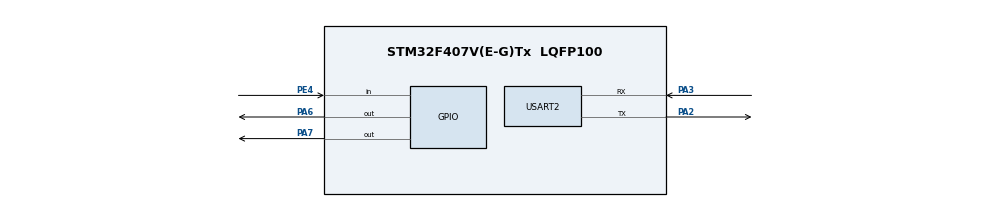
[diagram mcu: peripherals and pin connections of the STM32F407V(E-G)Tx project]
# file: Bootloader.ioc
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Mcu.Family=STM32F4
Mcu.Name=STM32F407V(E-G)Tx
Mcu.Package=LQFP100
NVIC.PriorityGroup=NVIC_PRIORITYGROUP_4
PA2.Mode=Asynchronous
PA2.Signal=USART2_TX
PA3.Mode=Asynchronous
PA3.Signal=USART2_RX
PA6.Signal=GPIO_Output
PA7.Signal=GPIO_Output
PE4.Signal=GPIO_Input
PH0-OSC_IN.Mode=HSE-External-Oscillator
PH0-OSC_IN.Signal=RCC_OSC_IN
PH1-OSC_OUT.Mode=HSE-External-Oscillator
PH1-OSC_OUT.Signal=RCC_OSC_OUT
ProjectManager.HeapSize=0x200
ProjectManager.StackSize=0x400
ProjectManager.TargetToolchain=CMake
RCC.48MHZClocksFreq_Value=84000000
RCC.AHBFreq_Value=168000000
RCC.APB1CLKDivider=RCC_HCLK_DIV4
RCC.APB1Freq_Value=42000000
RCC.APB1TimFreq_Value=84000000
RCC.APB2CLKDivider=RCC_HCLK_DIV2
RCC.APB2Freq_Value=84000000
RCC.APB2TimFreq_Value=168000000
RCC.CortexFreq_Value=168000000
RCC.HCLKFreq_Value=168000000
RCC.HSE_VALUE=8000000
RCC.HSI_VALUE=16000000
RCC.LSE_VALUE=32768
RCC.PLLM=8
RCC.PLLN=336
RCC.PLLSourceVirtual=RCC_PLLSOURCE_HSE
RCC.SYSCLKFreq_VALUE=168000000
RCC.SYSCLKSource=RCC_SYSCLKSOURCE_PLLCLK
RCC.VCOOutputFreq_Value=336000000
USART2.VirtualMode=VM_ASYNC
board=custom

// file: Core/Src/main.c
/* USER CODE BEGIN Header */
/**
 ******************************************************************************
 * @file           : main.c
 * @brief          : Main program body
 ******************************************************************************
 * @attention
 *
 * Copyright (c) 2025 STMicroelectronics.
 * All rights reserved.
 *
 * This software is licensed under terms that can be found in the LICENSE file
 * in the root directory of this software component.
 * If no LICENSE file comes with this software, it is provided AS-IS.
 *
 ******************************************************************************
 */
/* USER CODE END Header */
/* Includes
 * ------------------------------------------------------------------*/
#include "main.h"
#include "stm32f407xx.h"

/* Private includes
 * ----------------------------------------------------------*/
/* USER CODE BEGIN Includes */
#include "sha-256.h"
#include "stm32f4xx_hal.h"
#include "stm32f4xx_hal_gpio.h"
#include "uECC.h"
#include <stdint.h>
#include <string.h>

/* USER CODE END Includes */

/* Private typedef
 * -----------------------------------------------------------*/

/* Private define
 * ------------------------------------------------------------*/
/* USER CODE BEGIN PD */
#define APP_ADDRESS 0x08010000U
#define APP_SIZE 0x70000U
#define HASH_SIZE 32U
#define SIGNATURE_SIZE 64U
#define RESERVED_SIZE (HASH_SIZE + SIGNATURE_SIZE)
#define APP_HASH_END (APP_ADDRESS + APP_SIZE - RESERVED_SIZE)

/* USER CODE END PD */

/* Private macro
 * -------------------------------------------------------------*/
/* USER CODE BEGIN PM */
// extern const uint8_t ecdsa_pub_x[32];
// extern const uint8_t ecdsa_pub_y[32];

/* USER CODE END PM */

/* Private variables
 * ---------------------------------------------------------*/
UART_HandleTypeDef huart2;

/* Private function prototypes
 * -----------------------------------------------*/
void SystemClock_Config (void);
static void MX_GPIO_Init (void);
static void MX_USART2_UART_Init (void);
/* USER CODE BEGIN PFP */

void jump_to_application (uint32_t application_address);

/* USER CODE END PFP */

/* Private user code
 * ---------------------------------------------------------*/

int
main (void)
{

    /* MCU
     * Configuration--------------------------------------------------------*/

    /* Reset of all peripherals, Initializes the Flash interface and the
     * Systick. */
    HAL_Init ();

    /* Configure the system clock */
    SystemClock_Config ();

    /* Initialize all configured peripherals */
    MX_GPIO_Init ();
    MX_USART2_UART_Init ();
    /* USER CODE BEGIN 2 */
    HAL_UART_Transmit (&huart2, (uint8_t *)"Bootloader mode\r\n", 17,
                       HAL_MAX_DELAY);

    // Allocate buffers
    uint8_t computed_hash[HASH_SIZE];
    uint8_t stored_hash[HASH_SIZE];
    uint8_t stored_signature[SIGNATURE_SIZE];
    uint8_t pubkey[64];

    const uint8_t ecdsa_pub_x[32]
        = { 0x47, 0x97, 0x03, 0x07, 0xc6, 0x05, 0xfe, 0xcf, 0x44, 0x20, 0x2a,
            0x54, 0xa1, 0xe1, 0xd5, 0x9f, 0xa7, 0x8d, 0xe7, 0x4f, 0x5a, 0xd7,
            0x8d, 0xee, 0xd8, 0xcf, 0x0d, 0xde, 0x06, 0x51, 0x8d, 0x78 };

    const uint8_t ecdsa_pub_y[32]
        = { 0xaf, 0x83, 0x37, 0x95, 0xb2, 0xdd, 0xb7, 0xf6, 0x3a, 0x60, 0xf8,
            0xe0, 0xb5, 0xfc, 0x96, 0x8b, 0xd6, 0x80, 0x2e, 0x55, 0x41, 0x60,
            0x2f, 0x49, 0x14, 0xbf, 0xcf, 0xb9, 0xa1, 0x70, 0x94, 0xe7 };

    // Prepare public key (x || y)
    memcpy (pubkey, ecdsa_pub_x, 32);
    memcpy (pubkey + 32, ecdsa_pub_y, 32);

    // Compute SHA-256 hash of app code region
    struct Sha_256 ctx;
    sha_256_init (&ctx, computed_hash);
    sha_256_write (&ctx, (const uint8_t *)APP_ADDRESS,
                   APP_HASH_END - APP_ADDRESS);
    sha_256_close (&ctx);

    // Load stored hash and signature
    memcpy (stored_hash, (const uint8_t *)APP_HASH_END, HASH_SIZE);
    memcpy (stored_signature, (const uint8_t *)(APP_HASH_END + HASH_SIZE),
            SIGNATURE_SIZE);

    for (int i = 0; i < SIGNATURE_SIZE; i++)
    {
        char msg[10];
        sprintf (msg, "%02X ", stored_signature[i]);
        HAL_UART_Transmit (&huart2, (uint8_t *)msg, strlen (msg),
                           HAL_MAX_DELAY);
    }
    HAL_UART_Transmit (&huart2, (uint8_t *)"\r\n", 2, HAL_MAX_DELAY);

    // Compare hashes (integrity)
    if (memcmp (computed_hash, stored_hash, HASH_SIZE) != 0)
    {
        HAL_UART_Transmit (&huart2, (uint8_t *)"Hash check failed\r\n", 19,
                           HAL_MAX_DELAY);
        goto fail;
    }

    // Verify signature (authenticity)
    int result = uECC_verify (pubkey, computed_hash, HASH_SIZE,
                              stored_signature, uECC_secp256r1 ());

    if (result == 1)
    {
        HAL_UART_Transmit (&huart2, (uint8_t *)"Signature OK. Jumping...\r\n",
                           26, HAL_MAX_DELAY);
        jump_to_application (APP_ADDRESS);
    }
    else
    {
        HAL_UART_Transmit (&huart2, (uint8_t *)"Signature check failed\r\n",
                           24, HAL_MAX_DELAY);
    }
    /* USER CODE END 2 */

    /* Infinite loop */
    /* USER CODE BEGIN WHILE */

fail:
    while (1)
    {
        /* USER CODE END WHILE */
        HAL_GPIO_TogglePin (GPIOA, GPIO_PIN_SET);
        HAL_Delay (500);

    }
}

void
SystemClock_Config (void)
{
    RCC_OscInitTypeDef RCC_OscInitStruct = { 0 };
    RCC_ClkInitTypeDef RCC_ClkInitStruct = { 0 };

    /** Configure the main internal regulator output voltage
     */
    __HAL_RCC_PWR_CLK_ENABLE ();
    __HAL_PWR_VOLTAGESCALING_CONFIG (PWR_REGULATOR_VOLTAGE_SCALE1);

    /** Initializes the RCC Oscillators according to the specified parameters
     * in the RCC_OscInitTypeDef structure.
     */
    RCC_OscInitStruct.OscillatorType = RCC_OSCILLATORTYPE_HSE;
    RCC_OscInitStruct.HSEState = RCC_HSE_ON;
    RCC_OscInitStruct.PLL.PLLState = RCC_PLL_ON;
    RCC_OscInitStruct.PLL.PLLSource = RCC_PLLSOURCE_HSE;
    RCC_OscInitStruct.PLL.PLLM = 25;
    RCC_OscInitStruct.PLL.PLLN = 336;
    RCC_OscInitStruct.PLL.PLLP = RCC_PLLP_DIV2;
    RCC_OscInitStruct.PLL.PLLQ = 4;
    if (HAL_RCC_OscConfig (&RCC_OscInitStruct) != HAL_OK)
    {
        Error_Handler ();
    }

    /** Initializes the CPU, AHB and APB buses clocks
     */
    RCC_ClkInitStruct.ClockType = RCC_CLOCKTYPE_HCLK | RCC_CLOCKTYPE_SYSCLK
                                  | RCC_CLOCKTYPE_PCLK1 | RCC_CLOCKTYPE_PCLK2;
    RCC_ClkInitStruct.SYSCLKSource = RCC_SYSCLKSOURCE_PLLCLK;
    RCC_ClkInitStruct.AHBCLKDivider = RCC_SYSCLK_DIV1;
    RCC_ClkInitStruct.APB1CLKDivider = RCC_HCLK_DIV4;
    RCC_ClkInitStruct.APB2CLKDivider = RCC_HCLK_DIV2;

    if (HAL_RCC_ClockConfig (&RCC_ClkInitStruct, FLASH_LATENCY_5) != HAL_OK)
    {
        Error_Handler ();
    }
}

static void
MX_USART2_UART_Init (void)
{

    huart2.Instance = USART2;
    huart2.Init.BaudRate = 115200;
    huart2.Init.WordLength = UART_WORDLENGTH_8B;
    huart2.Init.StopBits = UART_STOPBITS_1;
    huart2.Init.Parity = UART_PARITY_NONE;
    huart2.Init.Mode = UART_MODE_TX_RX;
    huart2.Init.HwFlowCtl = UART_HWCONTROL_NONE;
    huart2.Init.OverSampling = UART_OVERSAMPLING_16;
    if (HAL_UART_Init (&huart2) != HAL_OK)
    {
        Error_Handler ();
    }
}

static void
MX_GPIO_Init (void)
{
    GPIO_InitTypeDef GPIO_InitStruct = { 0 };

    /* GPIO Ports Clock Enable */
    __HAL_RCC_GPIOE_CLK_ENABLE ();
    __HAL_RCC_GPIOH_CLK_ENABLE ();
    __HAL_RCC_GPIOA_CLK_ENABLE ();

    /*Configure GPIO pin Output Level */
    HAL_GPIO_WritePin (GPIOA, GPIO_PIN_6 | GPIO_PIN_7, GPIO_PIN_RESET);

    /*Configure GPIO pin : PE4 */
    GPIO_InitStruct.Pin = GPIO_PIN_4;
    GPIO_InitStruct.Mode = GPIO_MODE_INPUT;
    GPIO_InitStruct.Pull = GPIO_NOPULL;
    HAL_GPIO_Init (GPIOE, &GPIO_InitStruct);

    /*Configure GPIO pins : PA6 PA7 */
    GPIO_InitStruct.Pin = GPIO_PIN_6 | GPIO_PIN_7;
    GPIO_InitStruct.Mode = GPIO_MODE_OUTPUT_PP;
    GPIO_InitStruct.Pull = GPIO_NOPULL;
    GPIO_InitStruct.Speed = GPIO_SPEED_FREQ_LOW;
    HAL_GPIO_Init (GPIOA, &GPIO_InitStruct);

}

/* USER CODE BEGIN 4 */
void
jump_to_application (uint32_t application_address)
{
    typedef void (*pFunction) (void);
    uint32_t app_stack = *(__IO uint32_t *)(application_address);
    uint32_t app_reset_handler = *(__IO uint32_t *)(application_address + 4);
    pFunction jump_to_app = (pFunction)app_reset_handler;

    // 1. Disable interrupts
    __disable_irq ();
    // 2. Deinitialize HAL
    HAL_DeInit ();
    // 3. Disable Systick
    SysTick->CTRL = 0;
    // 4. Set vector table offset
    SCB->VTOR = application_address;
    // 5. Set application stack pointer
    __set_MSP (*(__IO uint32_t *)app_stack);
    // 6. Jump to app
    jump_to_app ();
}

/* USER CODE END 4 */

void
Error_Handler (void)
{
    /* USER CODE BEGIN Error_Handler_Debug */
    /* User can add his own implementation to report the HAL error return state
     */
    __disable_irq ();
    while (1)
    {
    }
    /* USER CODE END Error_Handler_Debug */
}

#ifdef USE_FULL_ASSERT
/**
 * @brief  Reports the name of the source file and the source line number
 *         where the assert_param error has occurred.
 * @param  file: pointer to the source file name
 * @param  line: assert_param error line source number
 * @retval None
 */
void
assert_failed (uint8_t *file, uint32_t line)
{
    /* USER CODE BEGIN 6 */
    /* User can add his own implementation to report the file name and line
       number, ex: printf("Wrong parameters value: file %s on line %d\r\n",
       file, line) */
    /* USER CODE END 6 */
}
#endif /* USE_FULL_ASSERT */
